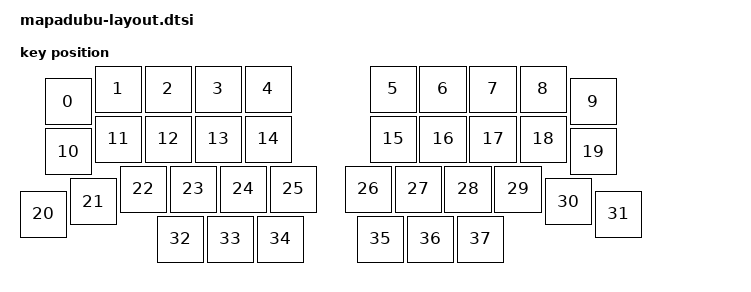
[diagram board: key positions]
#include <physical_layouts.dtsi>

/ {
    mapadubu_physical_layout: mapadubu_physical_layout {
        compatible = "zmk,physical-layout";
        display-name = "MAPADUBU";

        kscan = <&kscan0>;
        transform = <&default_transform>;

        keys  //                     w   h    x    y     rot    rx    ry
            = <&key_physical_attrs 100 100   50   25       0     0     0>
            , <&key_physical_attrs 100 100  150    0       0     0     0>
            , <&key_physical_attrs 100 100  250    0       0     0     0>
            , <&key_physical_attrs 100 100  350    0       0     0     0>
            , <&key_physical_attrs 100 100  450    0       0     0     0>
            , <&key_physical_attrs 100 100  700    0       0     0     0>
            , <&key_physical_attrs 100 100  800    0       0     0     0>
            , <&key_physical_attrs 100 100  900    0       0     0     0>
            , <&key_physical_attrs 100 100 1000    0       0     0     0>
            , <&key_physical_attrs 100 100 1100   25       0     0     0>
            , <&key_physical_attrs 100 100   50  125       0     0     0>
            , <&key_physical_attrs 100 100  150  100       0     0     0>
            , <&key_physical_attrs 100 100  250  100       0     0     0>
            , <&key_physical_attrs 100 100  350  100       0     0     0>
            , <&key_physical_attrs 100 100  450  100       0     0     0>
            , <&key_physical_attrs 100 100  700  100       0     0     0>
            , <&key_physical_attrs 100 100  800  100       0     0     0>
            , <&key_physical_attrs 100 100  900  100       0     0     0>
            , <&key_physical_attrs 100 100 1000  100       0     0     0>
            , <&key_physical_attrs 100 100 1100  125       0     0     0>
            , <&key_physical_attrs 100 100    0  250       0     0     0>
            , <&key_physical_attrs 100 100  100  225       0     0     0>
            , <&key_physical_attrs 100 100  200  200       0     0     0>
            , <&key_physical_attrs 100 100  300  200       0     0     0>
            , <&key_physical_attrs 100 100  400  200       0     0     0>
            , <&key_physical_attrs 100 100  500  200       0     0     0>
            , <&key_physical_attrs 100 100  650  200       0     0     0>
            , <&key_physical_attrs 100 100  750  200       0     0     0>
            , <&key_physical_attrs 100 100  850  200       0     0     0>
            , <&key_physical_attrs 100 100  950  200       0     0     0>
            , <&key_physical_attrs 100 100 1050  225       0     0     0>
            , <&key_physical_attrs 100 100 1150  250       0     0     0>
            , <&key_physical_attrs 100 100  275  300       0     0     0>
            , <&key_physical_attrs 100 100  375  300       0     0     0>
            , <&key_physical_attrs 100 100  475  300       0     0     0>
            , <&key_physical_attrs 100 100  675  300       0     0     0>
            , <&key_physical_attrs 100 100  775  300       0     0     0>
            , <&key_physical_attrs 100 100  875  300       0     0     0>
            ;
    };
};

